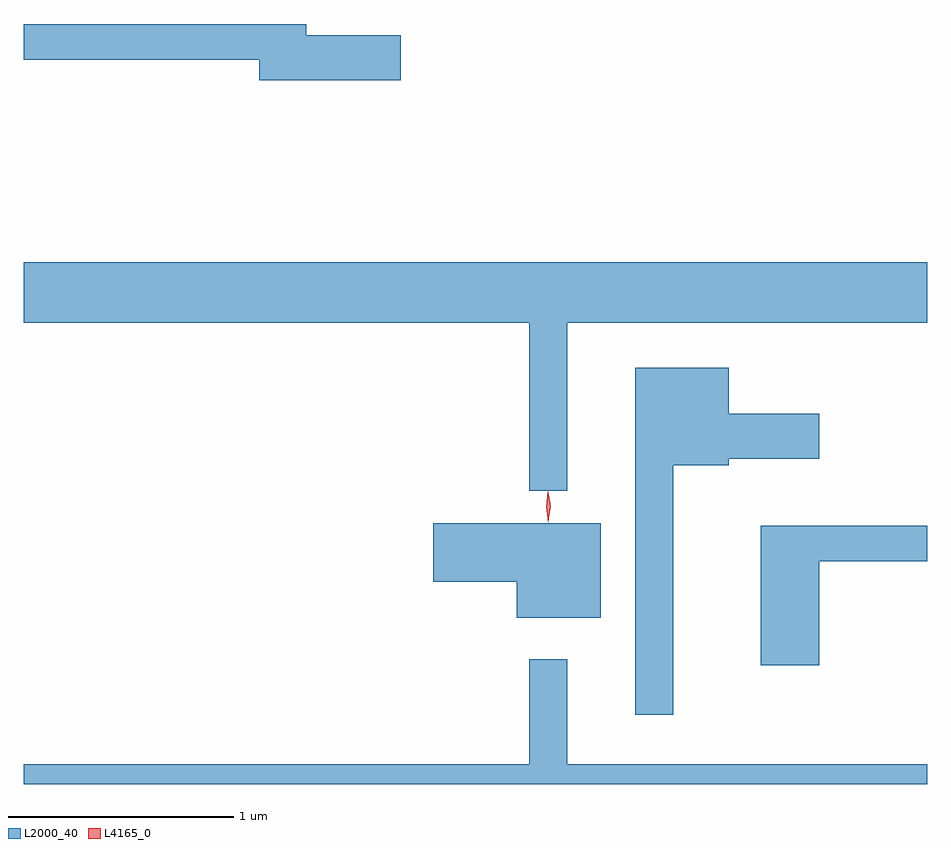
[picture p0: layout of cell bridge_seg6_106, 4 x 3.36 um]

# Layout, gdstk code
import gdstk
lib = gdstk.Library(unit=1e-6, precision=1e-09)
def P(c, l, *ps):  # polygons
    for p in ps: c.add(gdstk.Polygon(p, *l))
L2000_40 = (2000, 40)
L4165_0 = (4165, 0)

bridge_seg6_106 = lib.new_cell('bridge_seg6_106')
P(bridge_seg6_106, L2000_40, [(1124.984,1644.549),(1124.564,1644.549),(1124.564,1644.599),(1123.314,1644.599),(1123.314,1644.441),(1124.356,1644.441),(1124.356,1644.351),(1124.984,1644.351)],
  [(1125.719,1643.276),(1127.314,1643.276),(1127.314,1643.544),(1123.314,1643.544),(1123.314,1643.276),(1125.551,1643.276),(1125.551,1642.533),(1125.719,1642.533)],
  [(1126.189,1642.646),(1126.434,1642.646),(1126.434,1642.676),(1126.834,1642.676),(1126.834,1642.874),(1126.434,1642.874),(1126.434,1643.079),(1126.021,1643.079),(1126.021,1641.543),(1126.189,1641.543)],
  [(1125.869,1642.389),(1125.126,1642.389),(1125.126,1642.131),(1125.496,1642.131),(1125.496,1641.971),(1125.869,1641.971)],
  [(1126.834,1642.221),(1127.314,1642.221),(1127.314,1642.379),(1126.576,1642.379),(1126.576,1641.761),(1126.834,1641.761)],
  [(1127.314,1641.324),(1125.719,1641.324),(1125.719,1641.788),(1125.551,1641.788),(1125.551,1641.324),(1123.314,1641.324),(1123.314,1641.236),(1127.314,1641.236)])
P(bridge_seg6_106, L4165_0, [(1125.635,1642.394),(1125.626,1642.462),(1125.634,1642.53),(1125.635,1642.53),(1125.636,1642.53),(1125.645,1642.462),(1125.636,1642.394),(1125.636,1642.394)],
  [(1125.636,1642.4),(1125.636,1642.401),(1125.626,1642.463),(1125.634,1642.526),(1125.635,1642.527),(1125.636,1642.526),(1125.646,1642.464),(1125.637,1642.401)])

lib.write_gds('bridge_seg6_106.gds')
